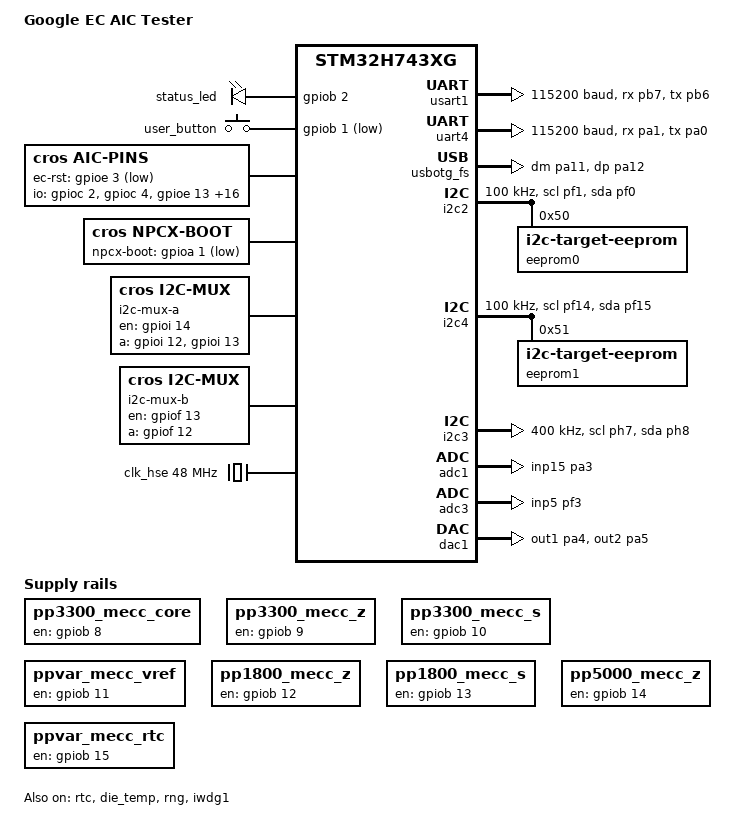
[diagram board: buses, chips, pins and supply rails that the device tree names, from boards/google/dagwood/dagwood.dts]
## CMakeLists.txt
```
# Copyright 2024 The ChromiumOS Authors
# Use of this source code is governed by a BSD-style license that can be
# found in the LICENSE file.

cmake_minimum_required(VERSION 3.20.0)

set(BOARD_ROOT ${CMAKE_CURRENT_LIST_DIR})
set(BOARD dagwood)

find_package(Zephyr REQUIRED HINTS $ENV{ZEPHYR_BASE} ${ZEPHYR_BASE})
project(dagwood)

zephyr_include_directories(include)

target_sources(app PRIVATE
	src/ec.c
	src/main.c
	src/reboot.c
	src/uart_select.c
	src/usbd.c
)

target_sources_ifdef(CONFIG_DT_HAS_CROS_NPCX_BOOT_ENABLED app PRIVATE src/npcx_boot.c)
target_sources_ifdef(CONFIG_I2C_EEPROM_TARGET app PRIVATE src/i2c_target.c)
target_sources_ifdef(CONFIG_DT_HAS_CROS_I2C_MUX_ENABLED app PRIVATE src/i2c_mux.c)

zephyr_linker_sources(ROM_SECTIONS src/usb_request.ld)
```

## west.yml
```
# Copyright 2024 The ChromiumOS Authors
# Use of this source code is governed by a BSD-style license that can be
# found in the LICENSE file.

manifest:
  remotes:
    - name: chromium
      url-base: https://chromium.googlesource.com/chromiumos

  projects:
    - name: zephyr
      remote: chromium
      repo-path: third_party/zephyr
      revision: main
      west-commands: scripts/west-commands.yml

    - name: cmsis_6
      remote: chromium
      repo-path: third_party/zephyr/cmsis_6
      revision: chromeos-main
      path: modules/hal/cmsis_6

    - name: hal_stm32
      remote: chromium
      repo-path: third_party/zephyr/hal_stm32
      revision: chromeos-main
      path: modules/hal/stm32
```

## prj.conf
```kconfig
# Copyright 2024 The ChromiumOS Authors
# Use of this source code is governed by a BSD-style license that can be
# found in the LICENSE file.

CONFIG_PM_DEVICE=y
CONFIG_PM_DEVICE_RUNTIME=y
CONFIG_PM_DEVICE_SHELL=y

# TODO(b/395151088): picolibc build causes a macro redefinition on some source
# files between include/zephyr/posix/posix_features.h and
# picolibc/coreboot-arm-eabi/include/sys/syslimits.h when using the chroot
# coreboot toolchain, use minimal libc until that's resolved.
CONFIG_MINIMAL_LIBC=y

CONFIG_GPIO=y
CONFIG_LOG=y
CONFIG_LOG_PROCESS_THREAD_SLEEP_MS=100
CONFIG_DEBUG_THREAD_INFO=y
CONFIG_COMPILER_TRACK_MACRO_EXPANSION=n
CONFIG_APPLICATION_DEFINED_SYSCALL=y

# USB
CONFIG_USB_DEVICE_STACK=n
CONFIG_USB_DEVICE_STACK_NEXT=y
CONFIG_USBD_CDC_ACM_CLASS=y
CONFIG_UART_LINE_CTRL=y
CONFIG_UDC_DRIVER_LOG_LEVEL_WRN=y
CONFIG_USBD_CDC_ACM_LOG_LEVEL_OFF=y
CONFIG_USBD_LOG_LEVEL_WRN=y

# I2C
CONFIG_I2C_TARGET=y
CONFIG_I2C_EEPROM_TARGET=y

# Subsystems
CONFIG_SHELL=y
CONFIG_I2C=y
CONFIG_LED=y
CONFIG_INPUT=y
CONFIG_REGULATOR=y
CONFIG_DAC=y
CONFIG_REBOOT=y

# Shell commands
CONFIG_GPIO_SHELL=y
CONFIG_I2C_SHELL=y
CONFIG_LED_SHELL=y
CONFIG_REGULATOR_SHELL=y
CONFIG_DAC_SHELL=y
CONFIG_INPUT_SHELL=y
CONFIG_INPUT_EVENT_DUMP=y

CONFIG_SHELL_PROMPT_UART="dagwood:~$ "
```

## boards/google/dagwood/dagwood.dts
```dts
/* Copyright 2024 The ChromiumOS Authors
 * Use of this source code is governed by a BSD-style license that can be
 * found in the LICENSE file.
 */

/dts-v1/;
#include <st/h7/stm32h743Xg.dtsi>
#include <st/h7/stm32h743bgtx-pinctrl.dtsi>
#include <zephyr/dt-bindings/input/input-event-codes.h>

/ {
	model = "Google EC AIC Tester";
	compatible = "google,dagwood";

	chosen {
		/* change to &usart1 to move the shell to J3/J4 */
		zephyr,console = &cdc_acm_uart_shell;
		zephyr,shell-uart = &cdc_acm_uart_shell;
		zephyr,sram = &sram0;
		zephyr,flash = &flash0;
		zephyr,dtcm = &dtcm;
	};

	leds {
		compatible = "gpio-leds";
		status_led: mcu_pb02 {
			gpios = <&gpiob 2 GPIO_ACTIVE_HIGH>;
		};
	};

	gpio_keys: gpio-keys {
		compatible = "gpio-keys";
		debounce-interval-ms = <3>;

		user_button: mcu_pb01 {
			gpios = <&gpiob 1 GPIO_ACTIVE_LOW>;
			zephyr,code = <INPUT_KEY_0>;
		};
	};

	aliases {
		led0 = &status_led;
		sw0 = &user_button;
		watchdog0 = &iwdg;
		die-temp0 = &die_temp;
	};

	uart_bridge: uart-bridge {
		compatible = "zephyr,uart-bridge";
		zephyr,pm-device-runtime-auto;
		peers = <&cdc_acm_uart_ec &uart4>;
	};

	uart_bridge_alt: uart-bridge-alt {
		compatible = "zephyr,uart-bridge";
		zephyr,pm-device-runtime-auto;
		peers = <&cdc_acm_uart_ec_alt &uart4>;
	};

	pp3300_mecc_core: pp3300_mecc_core {
		compatible = "regulator-fixed";
		regulator-name = "pp3300_mecc_core";
		enable-gpios = <&gpiob 8 GPIO_ACTIVE_HIGH>;
	};

	pp3300_mecc_z: pp3300_mecc_z {
		compatible = "regulator-fixed";
		regulator-name = "pp3300_mecc_z";
		enable-gpios = <&gpiob 9 GPIO_ACTIVE_HIGH>;
	};

	pp3300_mecc_s: pp3300_mecc_s {
		compatible = "regulator-fixed";
		regulator-name = "pp3300_mecc_s";
		enable-gpios = <&gpiob 10 GPIO_ACTIVE_HIGH>;
	};

	ppvar_mecc_vref: ppvar_mecc_vref {
		compatible = "regulator-fixed";
		regulator-name = "ppvar_mecc_vref";
		enable-gpios = <&gpiob 11 GPIO_ACTIVE_HIGH>;
	};

	pp1800_mecc_z: pp1800_mecc_z {
		compatible = "regulator-fixed";
		regulator-name = "pp1800_mecc_z";
		enable-gpios = <&gpiob 12 GPIO_ACTIVE_HIGH>;
	};

	pp1800_mecc_s: pp1800_mecc_s {
		compatible = "regulator-fixed";
		regulator-name = "pp1800_mecc_s";
		enable-gpios = <&gpiob 13 GPIO_ACTIVE_HIGH>;
	};

	pp5000_mecc_z: pp5000_mecc_z {
		compatible = "regulator-fixed";
		regulator-name = "pp5000_mecc_z";
		enable-gpios = <&gpiob 14 GPIO_ACTIVE_HIGH>;
	};

	ppvar_mecc_rtc: ppvar_mecc_rtc {
		compatible = "regulator-fixed";
		regulator-name = "ppvar_mecc_rtc";
		enable-gpios = <&gpiob 15 GPIO_ACTIVE_HIGH>;
	};

	aic-pins {
		compatible = "cros,aic-pins";
		ec-rst-gpios = <&gpioe 3 GPIO_ACTIVE_LOW>;
		io-gpios = <&gpioc 2 GPIO_ACTIVE_HIGH>, /* CCD_MODE_L */
			   <&gpioc 4 GPIO_ACTIVE_HIGH>, /* EN_PP5000_FAN */
			   <&gpioe 13 GPIO_ACTIVE_HIGH>, /* I2C_MECC_PDC4_INT_L */

			   /* TODO: figure out why some signals are not getting
			    * through on the NPCX AIC board
			    */

			   /* KSI */
			   /* <&gpiok 0 GPIO_ACTIVE_HIGH>, */ /* MCU_OUT_KBD_SCANIN_A_ODL */
			   <&gpiok 1 GPIO_ACTIVE_HIGH>, /* MCU_OUT_KBD_SCANIN_B_ODL */
			   <&gpiok 2 GPIO_ACTIVE_HIGH>, /* MCU_OUT_KBD_SCANIN_C_ODL */
			   /* <&gpiok 3 GPIO_ACTIVE_HIGH>, */ /* MCU_OUT_KBD_SCANIN_D_ODL */
			   <&gpiok 4 GPIO_ACTIVE_HIGH>, /* MCU_OUT_KBD_SCANIN_E_ODL */
			   <&gpiok 5 GPIO_ACTIVE_HIGH>, /* MCU_OUT_KBD_SCANIN_F_ODL */
			   <&gpiok 6 GPIO_ACTIVE_HIGH>, /* MCU_OUT_KBD_SCANIN_G_ODL */
			   <&gpiok 7 GPIO_ACTIVE_HIGH>, /* MCU_OUT_KBD_SCANIN_H_ODL */

			   /* KSO */
			   /* <&gpioj 0 GPIO_ACTIVE_HIGH>, */ /* MCU_IN_KBD_SCANOUT_A */
			   /* <&gpioj 1 GPIO_ACTIVE_HIGH>, */ /* MCU_IN_KBD_SCANOUT_B */
			   <&gpioj 2 GPIO_ACTIVE_HIGH>, /* MCU_IN_KBD_SCANOUT_C */
			   <&gpioj 3 GPIO_ACTIVE_HIGH>, /* MCU_IN_KBD_SCANOUT_D */
			   <&gpioj 4 GPIO_ACTIVE_HIGH>, /* MCU_IN_KBD_SCANOUT_E */
			   <&gpioj 5 GPIO_ACTIVE_HIGH>, /* MCU_IN_KBD_SCANOUT_F */
			   /* <&gpioj 6 GPIO_ACTIVE_HIGH>, */ /* MCU_IN_KBD_SCANOUT_G */
			   /* <&gpioj 7 GPIO_ACTIVE_HIGH>, */ /* MCU_IN_KBD_SCANOUT_H */
			   /* <&gpioj 8 GPIO_ACTIVE_HIGH>, */ /* MCU_IN_KBD_SCANOUT_J */
			   /* <&gpioj 9 GPIO_ACTIVE_HIGH>, */ /* MCU_IN_KBD_SCANOUT_K */
			   <&gpioj 10 GPIO_ACTIVE_HIGH>, /* MCU_IN_KBD_SCANOUT_L */
			   <&gpioj 11 GPIO_ACTIVE_HIGH>, /* MCU_IN_KBD_SCANOUT_M */
			   <&gpioj 12 GPIO_ACTIVE_HIGH>, /* MCU_IN_KBD_SCANOUT_N */
			   <&gpioj 13 GPIO_ACTIVE_HIGH>, /* MCU_IN_KBD_SCANOUT_P */
			   <&gpioj 14 GPIO_ACTIVE_HIGH>, /* MCU_IN_KBD_SCANOUT_Q */
			   <&gpioj 15 GPIO_ACTIVE_HIGH>; /* MCU_IN_KBD_SCANOUT_R */
			   /* <&gpioh 3 GPIO_ACTIVE_HIGH>, */ /* MCU_IN_KBD_SCANOUT_S */
			   /* <&gpioj 4 GPIO_ACTIVE_HIGH>; */ /* MCU_IN_KBD_SCANOUT_T */
	};

	npcx-boot {
		compatible = "cros,npcx-boot";
		npcx-boot-gpios = <&gpioa 1 GPIO_ACTIVE_LOW>;
		pinctrl-0 = <&pa1_gpio>;
		pinctrl-1 = <&uart4_rx_pa1>;
		pinctrl-names = "gpio", "default";
	};

	i2c-mux-a {
		compatible = "cros,i2c-mux";
		en-gpios = <&gpioi 14 GPIO_ACTIVE_HIGH>;
		a-gpios = <&gpioi 12 GPIO_ACTIVE_HIGH>,
			  <&gpioi 13 GPIO_ACTIVE_HIGH>;
		port-count = <4>;
	};

	i2c-mux-b {
		compatible = "cros,i2c-mux";
		en-gpios = <&gpiof 13 GPIO_ACTIVE_HIGH>;
		a-gpios = <&gpiof 12 GPIO_ACTIVE_HIGH>;
		port-count = <2>;
	};
};

&pinctrl {
	pa1_gpio: pa1_gpio {
		pinmux = <STM32_PINMUX('A', 1, GPIO)>;
	};
};

&clk_lsi {
	status = "okay";
};

&clk_hsi48 {
	status = "okay";
};

&clk_hse {
	clock-frequency = <DT_FREQ_M(48)>;
	status = "okay";
};

&pll {
	div-m = <12>;
	mul-n = <240>;
	div-p = <2>;
	div-q = <2>;
	div-r = <2>;
	clocks = <&clk_hse>;
	status = "okay";
};

&pll2 {
	div-m = <24>;
	mul-n = <120>;
	div-p = <2>;
	div-q = <3>;
	div-r = <2>;
	clocks = <&clk_hse>;
	status = "okay";
};

&rcc {
	clocks = <&pll>;
	clock-frequency = <DT_FREQ_M(480)>;
	d1cpre = <1>;
	hpre = <2>;
	d1ppre = <2>;
	d2ppre1 = <2>;
	d2ppre2 = <2>;
	d3ppre = <2>;
};

&pwr {
	power-supply = "ldo";
};

/* Debug UART, J3/J4 */
&usart1 {
	pinctrl-0 = <&usart1_rx_pb7 &usart1_tx_pb6>;
	pinctrl-names = "default";
	current-speed = <115200>;
	status = "okay";
};

/* EC UART */
&uart4 {
	pinctrl-0 = <&uart4_rx_pa1 &uart4_tx_pa0>;
	pinctrl-names = "default";
	current-speed = <115200>;
	status = "okay";
};

zephyr_udc0: &usbotg_fs {
	pinctrl-0 = <&usb_otg_fs_dm_pa11 &usb_otg_fs_dp_pa12>;
	pinctrl-names = "default";
	status = "okay";

	cdc_acm_uart_shell: cdc_acm_uart_shell {
		compatible = "zephyr,cdc-acm-uart";
		label = "Dagwood shell";
	};
	cdc_acm_uart_ec: cdc_acm_uart_ec {
		compatible = "zephyr,cdc-acm-uart";
		label = "EC shell";
	};
	cdc_acm_uart_ec_alt: cdc_acm_uart_ec_alt {
		compatible = "zephyr,cdc-acm-uart";
		label = "EC UART programming";
	};
};

&rtc {
	clocks = <&rcc STM32_CLOCK_BUS_APB4 0x00010000>,
		 <&rcc STM32_SRC_LSI RTC_SEL(2)>;
	status = "okay";
};

/* target interface, connected to the U9 mux */
&i2c2 {
	pinctrl-0 = <&i2c2_scl_pf1 &i2c2_sda_pf0>;
	pinctrl-1 = <&analog_pf1 &analog_pf0>;
	pinctrl-names = "default", "sleep";
	status = "okay";
	clock-frequency = <I2C_BITRATE_STANDARD>;

	eeprom0: eeprom@50 {
		reg = <0x50>;
		size = <256>;
		compatible = "zephyr,i2c-target-eeprom";
		status = "okay";
	};
};

/* target interface, connected to the U11 mux */
&i2c4 {
	pinctrl-0 = <&i2c4_scl_pf14 &i2c4_sda_pf15>;
	pinctrl-1 = <&analog_pf14 &analog_pf15>;
	pinctrl-names = "default", "sleep";
	status = "okay";
	clock-frequency = <I2C_BITRATE_STANDARD>;

	eeprom1: eeprom@51 {
		reg = <0x51>;
		size = <256>;
		compatible = "zephyr,i2c-target-eeprom";
		status = "okay";
	};
};

/* connected to J5, QWIIC port */
zephyr_i2c: &i2c3 {
	pinctrl-0 = <&i2c3_scl_ph7 &i2c3_sda_ph8>;
	pinctrl-1 = <&analog_ph7 &analog_ph8>;
	pinctrl-names = "default", "sleep";
	status = "okay";
	clock-frequency = <I2C_BITRATE_FAST>;
};

&adc1 {
	pinctrl-0 = <&adc1_inp15_pa3>;
	pinctrl-names = "default";
	st,adc-clock-source = "SYNC";
	st,adc-prescaler = <4>;
	status = "okay";
};

&die_temp {
	status = "okay";
};

&adc3 {
	pinctrl-0 = <&adc3_inp5_pf3>;
	pinctrl-names = "default";
	st,adc-clock-source = "SYNC";
	st,adc-prescaler = <4>;
	status = "okay";
};

&dac1 {
	status = "okay";
	pinctrl-0 = <&dac1_out1_pa4 &dac1_out2_pa5>;
	pinctrl-names = "default";
};

&rng {
	status = "okay";
};

&backup_sram {
	status = "okay";
};

&iwdg1 {
	status = "okay";
};
```

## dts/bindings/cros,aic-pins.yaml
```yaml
# Copyright 2025 The ChromiumOS Authors
# Use of this source code is governed by a BSD-style license that can be
# found in the LICENSE file.

description: |
  Various pin definitions for the AIC tester board.

compatible: "cros,aic-pins"

properties:
  ec-rst-gpios:
    type: phandle-array
    required: true

  io-gpios:
    type: phandle-array
    required: true
```

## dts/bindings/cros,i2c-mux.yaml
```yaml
# Copyright 2025 The ChromiumOS Authors
# Use of this source code is governed by a BSD-style license that can be
# found in the LICENSE file.

description: |
  I2C multiplexer device

compatible: "cros,i2c-mux"

properties:
  en-gpios:
    type: phandle-array
    required: true
    description: GPIO connected to the enable pin

  a-gpios:
    type: phandle-array
    required: true
    description: GPIOs connected to the A* pins

  port-count:
    type: int
    required: true
    description: Number of ports used in the multiplexer
```

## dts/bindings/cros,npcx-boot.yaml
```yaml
# Copyright 2025 The ChromiumOS Authors
# Use of this source code is governed by a BSD-style license that can be
# found in the LICENSE file.

description: |
  Support data to reset an NPCX chip in bootloader mode.

compatible: "cros,npcx-boot"

include: pinctrl-device.yaml

properties:
  pinctrl-0:
    required: true

  pinctrl-1:
    required: true

  pinctrl-names:
    required: true

  npcx-boot-gpios:
    type: phandle-array
    required: true
```

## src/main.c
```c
/* Copyright 2024 The ChromiumOS Authors
 * Use of this source code is governed by a BSD-style license that can be
 * found in the LICENSE file.
 */

#include <zephyr/drivers/led.h>
#include <zephyr/kernel.h>
#include <zephyr/logging/log.h>
#include <zephyr/pm/device_runtime.h>
#include <zephyr/shell/shell.h>

LOG_MODULE_REGISTER(main, LOG_LEVEL_INF);

const struct led_dt_spec status_led = LED_DT_SPEC_GET(DT_NODELABEL(status_led));

int main(void)
{
	int ret;

	ret = pm_device_runtime_get(DEVICE_DT_GET(DT_NODELABEL(gpio_keys)));
	if (ret < 0) {
		LOG_ERR("pm_device_runtime_get error: %d", ret);
		return ret;
	}

	LOG_INF("started");

	while (true) {
		led_on_dt(&status_led);
		k_sleep(K_MSEC(1000));
		led_off_dt(&status_led);
		k_sleep(K_MSEC(1000));
	}
}

/* JLink seems to have issues flashing a board when it boots cleanly from
 * power-on and has never been flashed, holding the reset button by hand while
 * running "west flash" seems to temporarily fix the problem, the JLink does
 * reset the MCU while connecting so this seems some race condition in the CPU
 * boot process.
 *
 * Adding a short delay after sys_clock_driver_init(), which runs in
 * PRE_KERNEL_2 seems to work around the problem.
 */
static int jlink_helper_hack(void)
{
	k_busy_wait(100 * USEC_PER_MSEC);

	return 0;
}

SYS_INIT(jlink_helper_hack, PRE_KERNEL_2, 99);
```

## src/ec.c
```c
/* Copyright 2025 The ChromiumOS Authors
 * Use of this source code is governed by a BSD-style license that can be
 * found in the LICENSE file.
 */

#define DT_DRV_COMPAT cros_aic_pins

#include "ec.h"
#include "usb_request.h"

#include <zephyr/drivers/gpio.h>
#include <zephyr/drivers/regulator.h>
#include <zephyr/input/input.h>
#include <zephyr/kernel.h>
#include <zephyr/logging/log.h>
#include <zephyr/shell/shell.h>
#include <zephyr/sys/util.h>

LOG_MODULE_REGISTER(ec, LOG_LEVEL_INF);

BUILD_ASSERT(DT_NUM_INST_STATUS_OKAY(DT_DRV_COMPAT) == 1,
	     "only one 'cros,aic-pins' compatible node may be present");

static const struct gpio_dt_spec ec_rst_gpio =
	GPIO_DT_SPEC_INST_GET(0, ec_rst_gpios);

static const struct gpio_dt_spec ec_io_gpio[] = { DT_INST_FOREACH_PROP_ELEM_SEP(
	0, io_gpios, GPIO_DT_SPEC_GET_BY_IDX, (, )) };

static const struct device *reg_pp3300_mecc_core =
	DEVICE_DT_GET(DT_NODELABEL(pp3300_mecc_core));
static const struct device *reg_pp3300_mecc_z =
	DEVICE_DT_GET(DT_NODELABEL(pp3300_mecc_z));
static const struct device *reg_pp3300_mecc_s =
	DEVICE_DT_GET(DT_NODELABEL(pp3300_mecc_s));
static const struct device *reg_ppvar_mecc_vref =
	DEVICE_DT_GET(DT_NODELABEL(ppvar_mecc_vref));
static const struct device *reg_pp1800_mecc_z =
	DEVICE_DT_GET(DT_NODELABEL(pp1800_mecc_z));
static const struct device *reg_pp1800_mecc_s =
	DEVICE_DT_GET(DT_NODELABEL(pp1800_mecc_s));
static const struct device *reg_pp5000_mecc_z =
	DEVICE_DT_GET(DT_NODELABEL(pp5000_mecc_z));
static const struct device *reg_ppvar_mecc_rtc =
	DEVICE_DT_GET(DT_NODELABEL(ppvar_mecc_rtc));

static bool ec_power_enabled;

static void ec_power(bool enable)
{
	if (ec_power_enabled == enable) {
		return;
	}

	if (enable) {
		regulator_enable(reg_pp3300_mecc_core);
		regulator_enable(reg_pp3300_mecc_z);
		regulator_enable(reg_pp3300_mecc_s);
		regulator_enable(reg_ppvar_mecc_vref);
		regulator_enable(reg_pp1800_mecc_z);
		regulator_enable(reg_pp1800_mecc_s);
		regulator_enable(reg_pp5000_mecc_z);
		regulator_enable(reg_ppvar_mecc_rtc);
	} else {
		regulator_disable(reg_ppvar_mecc_rtc);
		regulator_disable(reg_pp5000_mecc_z);
		regulator_disable(reg_pp1800_mecc_s);
		regulator_disable(reg_pp1800_mecc_z);
		regulator_disable(reg_ppvar_mecc_vref);
		regulator_disable(reg_pp3300_mecc_s);
		regulator_disable(reg_pp3300_mecc_z);
		regulator_disable(reg_pp3300_mecc_core);
	}

	ec_power_enabled = enable;
}

static void button_input_cb(struct input_event *evt, void *user_data)
{
	if (evt->type != INPUT_EV_KEY) {
		return;
	}

	if (!evt->value) {
		return;
	}

	switch (evt->code) {
	case INPUT_KEY_0:
		ec_power(!ec_power_enabled);
		break;
	default:
		LOG_WRN("unknown code: %d", evt->code);
	}
}

INPUT_CALLBACK_DEFINE(DEVICE_DT_GET(DT_NODELABEL(gpio_keys)), button_input_cb,
		      NULL);

static int expect_pin(const struct shell *sh, uint8_t i)
{
	/* TODO: make it work with more than 32 pins */
	uint32_t state = 0;
	uint32_t expect = BIT(i);

	for (uint8_t j = 0; j < ARRAY_SIZE(ec_io_gpio); j++) {
		const struct gpio_dt_spec *gpio = &ec_io_gpio[j];
		int val;

		val = gpio_pin_get_dt(gpio);
		if (val) {
			state |= BIT(j);
		}
	}

	if (state != expect) {
		shell_print(sh, "unexpected state (%d) %08x != %08x", i, state,
			    expect);
		return -1;
	}

	shell_info(sh, "match state (%d) %08x", i, state);
	return 0;
}

#define IO_SWEEP_TIMEOUT_MS 5000

static int cmd_io_sweep(const struct shell *sh, size_t argc, char **argv)
{
	uint64_t start_time;
	int ret;

	for (uint8_t i = 0; i < ARRAY_SIZE(ec_io_gpio); i++) {
		const struct gpio_dt_spec *gpio = &ec_io_gpio[i];

		ret = gpio_pin_configure_dt(gpio, GPIO_INPUT);
		if (ret < 0) {
			LOG_ERR("gpio configuration failed: %d", ret);
			return ret;
		}
	}

	start_time = k_uptime_get();
	for (uint8_t i = 0; i < ARRAY_SIZE(ec_io_gpio); i++) {
		while (true) {
			if (k_uptime_get() - start_time > IO_SWEEP_TIMEOUT_MS) {
				goto timeout;
			}

			ret = expect_pin(sh, i);
			if (ret < 0) {
				k_sleep(K_MSEC(100));
				continue;
			}
			break;
		}
	}

	shell_info(sh, "sweep matched all pins successfully");

	return 0;

timeout:
	shell_error(sh, "timeout");

	return -ETIME;
}

void ec_reset(void)
{
	gpio_pin_set_dt(&ec_rst_gpio, 1);

	k_sleep(K_MSEC(100));

	gpio_pin_set_dt(&ec_rst_gpio, 0);
}

static int cmd_ec_reset(const struct shell *sh, size_t argc, char **argv)
{
	ec_reset();

	return 0;
}

static int cmd_ec_power(const struct shell *sh, size_t argc, char **argv)
{
	int err = 0;
	bool on;

	on = shell_strtobool(argv[1], 0, &err);
	if (err) {
		shell_error(sh, "Invalid argument: %s", argv[2]);
		return err;
	}

	ec_power(on);

	return 0;
}

/* clang-format off */
SHELL_STATIC_SUBCMD_SET_CREATE(ec_cmds,
	SHELL_CMD_ARG(io_sweep, NULL, "io_sweep", cmd_io_sweep, 1, 0),
	SHELL_CMD_ARG(power, NULL, "power on|off", cmd_ec_power, 2, 0),
	SHELL_CMD_ARG(reset, NULL, "reset", cmd_ec_reset, 1, 0),
	SHELL_SUBCMD_SET_END);
/* clang-format on */

SHELL_CMD_REGISTER(ec, &ec_cmds, "EC control commands", NULL);

static void ec_cb(uint16_t index, uint16_t value)
{
	switch (index) {
	case USB_REQ_EC_RESET:
		LOG_INF("usb ec reset");
		ec_reset();
		break;
	case USB_REQ_POWER:
		LOG_INF("usb ec power %d", value);
		ec_power(value);
		break;
	}
}

USB_REQUEST_CALLBACK_DEFINE(ec_cb);

static int ec_init(void)
{
	int ret;

	ret = gpio_pin_configure_dt(&ec_rst_gpio, GPIO_OUTPUT_INACTIVE);
	if (ret < 0) {
		LOG_ERR("gpio configuration failed: %d", ret);
		return ret;
	}

	return 0;
}

SYS_INIT(ec_init, APPLICATION, 99);
```

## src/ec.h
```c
/* Copyright 2025 The ChromiumOS Authors
 * Use of this source code is governed by a BSD-style license that can be
 * found in the LICENSE file.
 */

/* Send a reset pulse to the EC board */
void ec_reset(void);
```

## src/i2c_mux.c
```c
/* Copyright 2025 The ChromiumOS Authors
 * Use of this source code is governed by a BSD-style license that can be
 * found in the LICENSE file.
 */

#include <zephyr/device.h>
#include <zephyr/drivers/gpio.h>
#include <zephyr/kernel.h>
#include <zephyr/logging/log.h>
#include <zephyr/shell/shell.h>
#include <zephyr/sys/util.h>

#define DT_DRV_COMPAT cros_i2c_mux

LOG_MODULE_REGISTER(i2c_mux, LOG_LEVEL_INF);

struct i2c_mux_config {
	const struct gpio_dt_spec en_gpio;
	const struct gpio_dt_spec *a_gpio;
	uint8_t a_gpio_count;
	uint8_t port_count;
};

static int i2c_mux_select(const struct device *dev, uint8_t port)
{
	const struct i2c_mux_config *cfg = dev->config;
	int ret;

	if (port >= cfg->port_count) {
		return -EINVAL;
	}

	for (uint8_t i = 0; i < cfg->a_gpio_count; i++) {
		const struct gpio_dt_spec *gpio = &cfg->a_gpio[i];
		uint8_t val = IS_BIT_SET(port, i) != 0 ? 1 : 0;

		ret = gpio_pin_set_dt(gpio, val);
		if (ret < 0) {
			LOG_ERR("gpio set failed: %d", ret);
			return ret;
		}
	}

	return 0;
}

static const struct i2c_mux_api {
	/* empty, just for use in shell_device_filter */
} i2c_mux_api;

static bool i2c_mux_device_filter(const struct device *dev)
{
	return dev->api == &i2c_mux_api;
}

static void device_name_get(size_t idx, struct shell_static_entry *entry)
{
	const struct device *dev =
		shell_device_filter(idx, i2c_mux_device_filter);

	entry->syntax = (dev != NULL) ? dev->name : NULL;
	entry->handler = NULL;
	entry->help = NULL;
	entry->subcmd = NULL;
}

SHELL_DYNAMIC_CMD_CREATE(dsub_device_name, device_name_get);

static int cmd_i2c_mux(const struct shell *sh, size_t argc, char **argv)
{
	const struct device *dev;
	int err = 0;
	int port;

	dev = device_get_binding(argv[1]);
	if (dev == NULL) {
		shell_error(sh, "Device %s not available", argv[1]);
		return -ENODEV;
	}

	port = shell_strtol(argv[2], 0, &err);
	if (err) {
		shell_error(sh, "Invalid argument: %s", argv[2]);
		return err;
	}

	err = i2c_mux_select(dev, port);
	if (err < 0) {
		shell_error(sh, "i2c_mux_select error: %d", err);
		return err;
	}

	return 0;
}

SHELL_CMD_ARG_REGISTER(i2c_mux, &dsub_device_name, "I2C multiplexer control",
		       cmd_i2c_mux, 3, 0);

static int i2c_mux_init(const struct device *dev)
{
	const struct i2c_mux_config *cfg = dev->config;
	int ret;

	ret = gpio_pin_configure_dt(&cfg->en_gpio, GPIO_OUTPUT_ACTIVE);
	if (ret < 0) {
		LOG_ERR("gpio configuration failed: %d", ret);
		return ret;
	}

	for (uint8_t i = 0; i < cfg->a_gpio_count; i++) {
		const struct gpio_dt_spec *gpio = &cfg->a_gpio[i];

		ret = gpio_pin_configure_dt(gpio, GPIO_OUTPUT_INACTIVE);
		if (ret < 0) {
			LOG_ERR("gpio configuration failed: %d", ret);
			return ret;
		}
	}

	return 0;
}

#define I2C_MUX_INIT(n)                                                      \
	const struct gpio_dt_spec i2c_mux_a_gpio_##n[] = {                   \
		DT_INST_FOREACH_PROP_ELEM_SEP(n, a_gpios,                    \
					      GPIO_DT_SPEC_GET_BY_IDX, (, )) \
	};                                                                   \
                                                                             \
	static const struct i2c_mux_config i2c_mux_cfg_##n = {               \
		.en_gpio = GPIO_DT_SPEC_INST_GET(n, en_gpios),               \
		.a_gpio = i2c_mux_a_gpio_##n,                                \
		.a_gpio_count = ARRAY_SIZE(i2c_mux_a_gpio_##n),              \
		.port_count = DT_INST_PROP(n, port_count),                   \
	};                                                                   \
                                                                             \
	DEVICE_DT_INST_DEFINE(n, i2c_mux_init, NULL, NULL, &i2c_mux_cfg_##n, \
			      POST_KERNEL, CONFIG_I2C_INIT_PRIORITY,         \
			      &i2c_mux_api);

DT_INST_FOREACH_STATUS_OKAY(I2C_MUX_INIT)
```

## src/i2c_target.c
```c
/* Copyright 2025 The ChromiumOS Authors
 * Use of this source code is governed by a BSD-style license that can be
 * found in the LICENSE file.
 */

#include <zephyr/drivers/i2c.h>
#include <zephyr/kernel.h>
#include <zephyr/logging/log.h>

LOG_MODULE_REGISTER(i2c_traget, LOG_LEVEL_INF);

static int i2c_target_device_init(const struct device *dev)
{
	int ret;

	if (!device_is_ready(dev)) {
		LOG_ERR("device %s not ready", dev->name);
		return -ENODEV;
	}

	ret = i2c_target_driver_register(dev);
	if (ret < 0) {
		LOG_ERR("i2c target device %s register failed: %d", dev->name,
			ret);
		return ret;
	}

	return 0;
}

static int i2c_target_init(void)
{
	int ret;

	ret = i2c_target_device_init(DEVICE_DT_GET(DT_NODELABEL(eeprom0)));
	if (ret < 0) {
		return ret;
	}

	ret = i2c_target_device_init(DEVICE_DT_GET(DT_NODELABEL(eeprom1)));
	if (ret < 0) {
		return ret;
	}

	return 0;
}

SYS_INIT(i2c_target_init, APPLICATION, 99);
```

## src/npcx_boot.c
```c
/* Copyright 2025 The ChromiumOS Authors
 * Use of this source code is governed by a BSD-style license that can be
 * found in the LICENSE file.
 */

#define DT_DRV_COMPAT cros_npcx_boot

#include "ec.h"
#include "usb_request.h"

#include <zephyr/drivers/gpio.h>
#include <zephyr/drivers/pinctrl.h>
#include <zephyr/kernel.h>
#include <zephyr/logging/log.h>
#include <zephyr/shell/shell.h>
#include <zephyr/shell/shell_uart.h>

LOG_MODULE_REGISTER(npcx_boot, LOG_LEVEL_INF);

BUILD_ASSERT(DT_NUM_INST_STATUS_OKAY(DT_DRV_COMPAT) == 1,
	     "only one 'cros,npcx-boot' compatible node may be present");

#define PINCTRL_STATE_GPIO 2

PINCTRL_DT_INST_DEFINE(0);
const struct pinctrl_dev_config *npcx_boot_pcfg =
	PINCTRL_DT_INST_DEV_CONFIG_GET(0);
const struct gpio_dt_spec npcx_boot_gpio =
	GPIO_DT_SPEC_INST_GET(0, npcx_boot_gpios);

static int cmd_npcx_boot(const struct shell *sh, size_t argc, char **argv)
{
	int ret;

	ret = pinctrl_apply_state(npcx_boot_pcfg, PINCTRL_STATE_GPIO);
	if (ret < 0) {
		shell_error(sh, "1 pinctrl configuration failed: %d", ret);
		return ret;
	}

	ret = gpio_pin_configure_dt(&npcx_boot_gpio, GPIO_OUTPUT_ACTIVE);
	if (ret < 0) {
		shell_error(sh, "gpio configuration failed: %d", ret);
		return ret;
	}

	ec_reset();

	k_sleep(K_MSEC(100));

	ret = gpio_pin_configure_dt(&npcx_boot_gpio, GPIO_INPUT);
	if (ret < 0) {
		shell_error(sh, "gpio configuration failed: %d", ret);
		return ret;
	}

	ret = pinctrl_apply_state(npcx_boot_pcfg, PINCTRL_STATE_DEFAULT);
	if (ret < 0) {
		shell_error(sh, "2 pinctrl configuration failed: %d", ret);
		return ret;
	}

	return 0;
}

SHELL_CMD_REGISTER(npcx_boot, NULL, "Enter NPCX bootloader", cmd_npcx_boot);

static void npcx_boot_cb(uint16_t index, uint16_t value)
{
	const struct shell *sh = shell_backend_uart_get_ptr();

	if (index != USB_REQ_NPCX_BOOT) {
		return;
	}

	LOG_INF("npcx boot");

	cmd_npcx_boot(sh, 0, NULL);
}

USB_REQUEST_CALLBACK_DEFINE(npcx_boot_cb);
```

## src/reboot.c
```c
/* Copyright 2025 The ChromiumOS Authors
 * Use of this source code is governed by a BSD-style license that can be
 * found in the LICENSE file.
 */

#include "usb_request.h"

#include <zephyr/kernel.h>
#include <zephyr/sys/reboot.h>

static void dw_reboot(uint16_t index, uint16_t value)
{
	if (index != USB_REQ_REBOOT) {
		return;
	}

	sys_reboot(SYS_REBOOT_COLD);
}

USB_REQUEST_CALLBACK_DEFINE(dw_reboot);
```

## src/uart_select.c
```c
/* Copyright 2025 The ChromiumOS Authors
 * Use of this source code is governed by a BSD-style license that can be
 * found in the LICENSE file.
 */

#include "usb_request.h"

#include <zephyr/drivers/uart/uart_bridge.h>
#include <zephyr/kernel.h>
#include <zephyr/logging/log.h>
#include <zephyr/pm/device_runtime.h>

LOG_MODULE_REGISTER(uart_switch, LOG_LEVEL_INF);

static void ec_uart_select_alt(uint16_t index, uint16_t value)
{
	static bool ec_uart_alt;

	if (index != USB_REQ_EC_UART_SELECT_ALT) {
		return;
	}

	value = !!value;

	if (value == ec_uart_alt) {
		return;
	}

	LOG_INF("ec uart select: alt=%d", value);

	if (value) {
		pm_device_runtime_put(DEVICE_DT_GET(DT_NODELABEL(uart_bridge)));
		pm_device_runtime_get(
			DEVICE_DT_GET(DT_NODELABEL(uart_bridge_alt)));

		uart_bridge_settings_update(
			DEVICE_DT_GET(DT_NODELABEL(cdc_acm_uart_ec_alt)),
			DEVICE_DT_GET(DT_NODELABEL(uart_bridge_alt)));

	} else {
		pm_device_runtime_put(
			DEVICE_DT_GET(DT_NODELABEL(uart_bridge_alt)));
		pm_device_runtime_get(DEVICE_DT_GET(DT_NODELABEL(uart_bridge)));

		uart_bridge_settings_update(
			DEVICE_DT_GET(DT_NODELABEL(cdc_acm_uart_ec)),
			DEVICE_DT_GET(DT_NODELABEL(uart_bridge)));
	}

	ec_uart_alt = value;
}

USB_REQUEST_CALLBACK_DEFINE(ec_uart_select_alt);

static int ec_uart_select_init(void)
{
	int ret;

	ret = pm_device_runtime_get(DEVICE_DT_GET(DT_NODELABEL(uart_bridge)));
	if (ret < 0) {
		LOG_ERR("pm_device_runtime_get error: %d", ret);
		return ret;
	}

	return 0;
}

SYS_INIT(ec_uart_select_init, APPLICATION, 0);
```

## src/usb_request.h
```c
/* Copyright 2025 The ChromiumOS Authors
 * Use of this source code is governed by a BSD-style license that can be
 * found in the LICENSE file.
 */

#include <stdint.h>

#define USB_REQ_EC_RESET 0
#define USB_REQ_POWER 1
#define USB_REQ_NPCX_BOOT 2
#define USB_REQ_EC_UART_SELECT_ALT 3
#define USB_REQ_REBOOT 4

struct usb_request_callback {
	void (*callback)(uint16_t index, uint16_t value);
};

#define USB_REQUEST_CALLBACK_DEFINE(_callback)                                \
	static const STRUCT_SECTION_ITERABLE(                                 \
		usb_request_callback, _usb_request_callback__##_callback) = { \
		.callback = _callback,                                        \
	}
```

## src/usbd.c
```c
/* Copyright 2024 The ChromiumOS Authors
 * Use of this source code is governed by a BSD-style license that can be
 * found in the LICENSE file.
 */

#include "usb_request.h"

#include <zephyr/device.h>
#include <zephyr/drivers/uart/uart_bridge.h>
#include <zephyr/input/input.h>
#include <zephyr/kernel.h>
#include <zephyr/pm/device_runtime.h>
#include <zephyr/usb/usbd.h>

LOG_MODULE_REGISTER(usbd_app, LOG_LEVEL_INF);

#define USB_VID 0x18d1
#define USB_PID 0x5214
#define USB_MANUFACTURER_NAME "Google"
#define USB_DEVICE_NAME "Dagwood"
#define USB_MAX_POWER 250

USBD_DEVICE_DEFINE(app_usbd, DEVICE_DT_GET(DT_NODELABEL(zephyr_udc0)), USB_VID,
		   USB_PID);

USBD_DESC_LANG_DEFINE(app_usb_lang);
USBD_DESC_MANUFACTURER_DEFINE(app_usb_mfr, USB_MANUFACTURER_NAME);
USBD_DESC_PRODUCT_DEFINE(app_usb_product, USB_DEVICE_NAME);
USBD_DESC_SERIAL_NUMBER_DEFINE(app_usb_sn);

static const uint8_t attributes = 0;

USBD_DESC_CONFIG_DEFINE(fs_cfg_desc, "FS Configuration");
USBD_DESC_CONFIG_DEFINE(hs_cfg_desc, "HS Configuration");
USBD_CONFIGURATION_DEFINE(app_usb_fs_config, attributes, USB_MAX_POWER,
			  &fs_cfg_desc);
USBD_CONFIGURATION_DEFINE(app_usb_hs_config, attributes, USB_MAX_POWER,
			  &hs_cfg_desc);

static int to_host_cb(const struct usbd_context *const ctx,
		      const struct usb_setup_packet *const setup,
		      struct net_buf *const buf)
{
	LOG_INF("%d: %d %d %d %d", setup->RequestType.type, setup->bRequest,
		setup->wLength, setup->wIndex, setup->wValue);

	return 0;
}

static int to_dev_cb(const struct usbd_context *const ctx,
		     const struct usb_setup_packet *const setup,
		     const struct net_buf *const buf)
{
	STRUCT_SECTION_FOREACH(usb_request_callback, callback)
	{
		callback->callback(setup->wIndex, setup->wValue);
	}

	return 0;
}

USBD_VREQUEST_DEFINE(vnd_vreq, 0, to_host_cb, to_dev_cb);

static void update_bridge_settings_if_active(const struct device *dev,
					     const struct device *bridge_dev)
{
	if (pm_device_runtime_usage(bridge_dev) <= 0) {
		return;
	}

	uart_bridge_settings_update(dev, bridge_dev);
}

static void usbd_msg_cb(struct usbd_context *const usbd_ctx,
			const struct usbd_msg *const msg)
{
	int ret;

	LOG_DBG("USBD message: %s", usbd_msg_type_string(msg->type));

	if (msg->type == USBD_MSG_CDC_ACM_LINE_CODING ||
	    msg->type == USBD_MSG_CDC_ACM_CONTROL_LINE_STATE) {
		update_bridge_settings_if_active(
			msg->dev, DEVICE_DT_GET(DT_NODELABEL(uart_bridge)));
		update_bridge_settings_if_active(
			msg->dev, DEVICE_DT_GET(DT_NODELABEL(uart_bridge_alt)));
	}

	if (!usbd_can_detect_vbus(usbd_ctx)) {
		return;
	}

	switch (msg->type) {
	case USBD_MSG_VBUS_READY:
		ret = usbd_enable(usbd_ctx);
		if (ret) {
			LOG_ERR("Failed to enable device support");
		}

		break;
	case USBD_MSG_VBUS_REMOVED:
		ret = usbd_disable(usbd_ctx);
		if (ret) {
			LOG_ERR("Failed to disable device support");
		}

		break;
	case USBD_MSG_RESUME:
		break;
	case USBD_MSG_SUSPEND:
		break;
	default:
		break;
	}
}

static struct usbd_context *usbd_init_device(void)
{
	int err;

	err = usbd_add_descriptor(&app_usbd, &app_usb_lang);
	if (err) {
		LOG_ERR("Failed to initialize language descriptor (%d)", err);
		return NULL;
	}

	err = usbd_add_descriptor(&app_usbd, &app_usb_mfr);
	if (err) {
		LOG_ERR("Failed to initialize manufacturer descriptor (%d)",
			err);
		return NULL;
	}

	err = usbd_add_descriptor(&app_usbd, &app_usb_product);
	if (err) {
		LOG_ERR("Failed to initialize product descriptor (%d)", err);
		return NULL;
	}

	err = usbd_add_descriptor(&app_usbd, &app_usb_sn);
	if (err) {
		LOG_ERR("Failed to initialize SN descriptor (%d)", err);
		return NULL;
	}

	if (usbd_caps_speed(&app_usbd) == USBD_SPEED_HS) {
		err = usbd_add_configuration(&app_usbd, USBD_SPEED_HS,
					     &app_usb_hs_config);
		if (err) {
			LOG_ERR("Failed to add High-Speed configuration");
			return NULL;
		}

		err = usbd_register_all_classes(&app_usbd, USBD_SPEED_HS, 1,
						NULL);
		if (err) {
			LOG_ERR("Failed to add register classes");
			return NULL;
		}

		usbd_device_set_code_triple(&app_usbd, USBD_SPEED_HS, 0, 0, 0);
	}

	err = usbd_add_configuration(&app_usbd, USBD_SPEED_FS,
				     &app_usb_fs_config);
	if (err) {
		LOG_ERR("Failed to add Full-Speed configuration");
		return NULL;
	}

	err = usbd_register_all_classes(&app_usbd, USBD_SPEED_FS, 1, NULL);
	if (err) {
		LOG_ERR("Failed to add register classes");
		return NULL;
	}

	usbd_device_set_code_triple(&app_usbd, USBD_SPEED_FS, 0, 0, 0);

	err = usbd_msg_register_cb(&app_usbd, usbd_msg_cb);
	if (err) {
		LOG_ERR("Failed to register message callback");
		return NULL;
	}

	err = usbd_device_register_vreq(&app_usbd, &vnd_vreq);
	if (err) {
		LOG_ERR("Failed to register vreq");
		return NULL;
	}

	err = usbd_init(&app_usbd);
	if (err) {
		LOG_ERR("Failed to initialize device support");
		return NULL;
	}

	return &app_usbd;
}

static int app_usbd_enable(void)
{
	struct usbd_context *usbd;
	int ret;

	usbd = usbd_init_device();
	if (usbd == NULL) {
		LOG_ERR("Failed to initialize USB device");
		return -ENODEV;
	}

	if (usbd_can_detect_vbus(usbd)) {
		return 0;
	}

	ret = usbd_enable(usbd);
	if (ret != 0) {
		LOG_ERR("Failed to enable USB");
		return 0;
	}

	return 0;
}
SYS_INIT(app_usbd_enable, APPLICATION, 0);
```
